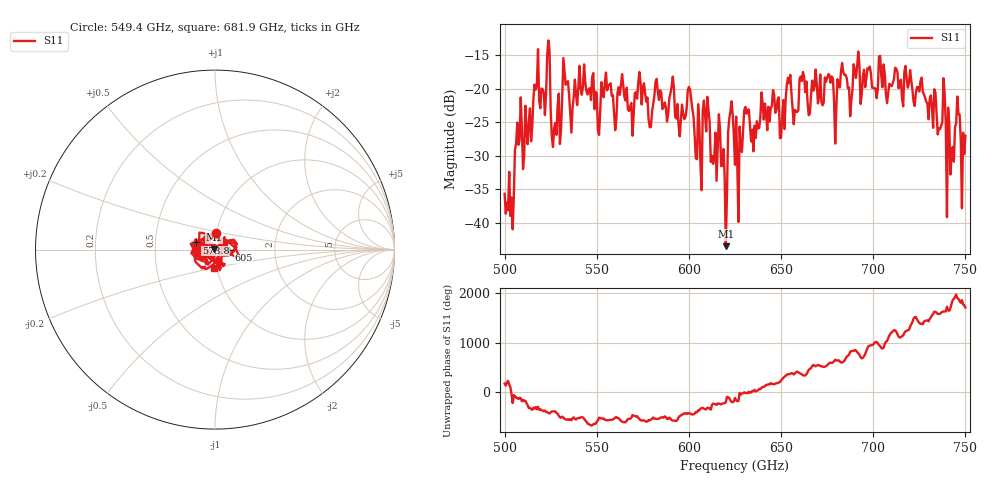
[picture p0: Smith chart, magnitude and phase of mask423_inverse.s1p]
!Created with skrf (http://scikit-rf.org).
# GHz S MA R 50.0
!freq magS11 angS11
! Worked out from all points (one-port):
!   401 points, 500 GHz to 750 GHz, reference 50 ohm
!   lowest |S11| = -43.5 dB at 620 GHz (marker M1), VSWR 1.01, Z = 49.4 + j0.24 ohm
!   |S11| at or under -10 dB: start of sweep to end of sweep
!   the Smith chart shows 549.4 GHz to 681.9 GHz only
!   S11 on the Smith chart (normalised r, x): 549.4 GHz: 0.99, +0.19; 573.8 GHz: 0.81, +0.07; 605 GHz: 1.17, -0.01; 681.9 GHz: 0.97, -0.20
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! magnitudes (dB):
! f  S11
! 500 GHz  -35.7
! 503.8 GHz  -36.2
! 507.5 GHz  -28.3
! 513.8 GHz  -22.9
! 516.9 GHz  -20.1
! 523.8 GHz  -12.8
! 526.9 GHz  -25.9
! 531.2 GHz  -21.5
! 549.4 GHz  -20.5
! 562.5 GHz  -20.9
! 568.8 GHz  -22.1
! 573.8 GHz  -19.1
! 593.8 GHz  -22.3
! 600.6 GHz  -20.1
! 605 GHz  -22.3
! 609.4 GHz  -26.4
! 620 GHz  -43.5
! 622.5 GHz  -23.4
! 625 GHz  -31.3
! 656.2 GHz  -23.0
! 681.9 GHz  -19.8
! 687.5 GHz  -24.1
! 690.6 GHz  -18.4
! 718.8 GHz  -19.8
! 738.1 GHz  -18.4
! 741.2 GHz  -25.4
! 745.6 GHz  -21.2
! 750 GHz  -27.0
